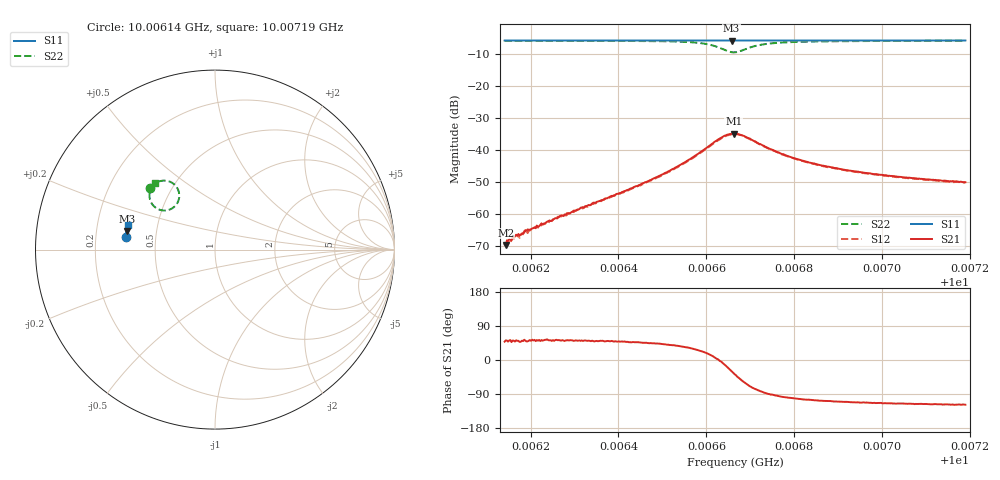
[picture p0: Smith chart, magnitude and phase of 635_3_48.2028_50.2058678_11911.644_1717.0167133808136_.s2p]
#  HZ  S  RI  R  50.00
! Rohde & Schwarz Vector Network Analyzer
! Rohde-Schwarz,ZNB20-2Port,1311601062101988,3.16
! Created: UTC 3/20/2024, 12:04:35 PM
! freq[Hz]  re:S11  im:S11  re:S21  im:S21  re:S12  im:S12  re:S22  im:S22
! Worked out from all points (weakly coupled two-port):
!   401 points, 10.00614 GHz to 10.00719 GHz, reference 50 ohm
!   highest |S21| = -35.00 dB at 10.00666 GHz (marker M1); lowest = -69.8 dB at 10.00614 GHz (marker M2)
!   lowest |S11| = -6.0 dB at 10.00666 GHz (marker M3), VSWR 3.02, Z = 16.7 + j4.57 ohm
!   |S11| at or under -10 dB: nowhere
!   |S22| runs from -9.6 to -6.0 dB; largest |S21 - S12| = 0.0014
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1.0006141e10  -0.4985 0.0695  0.000221 0.000249  0.000195 0.000241  -0.3605 0.345
1.0006143e10  -0.4986 0.0694  0.0002 0.000253  0.000221 0.000255  -0.3603 0.3454
1.0006167e10  -0.4984 0.0711  0.000287 0.000369  0.000253 0.000324  -0.3587 0.3472
1.0006185e10  -0.4983 0.0722  0.000299 0.000403  0.000314 0.000431  -0.3574 0.3483
1.0006198e10  -0.4982 0.0732  0.00034 0.000447  0.000312 0.000449  -0.3565 0.3494
1.0006267e10  -0.4976 0.0778  0.000561 0.000714  0.000501 0.000771  -0.351 0.3546
1.0006316e10  -0.4972 0.0809  0.000777 0.000977  0.00072 0.000978  -0.3462 0.3589
1.0006427e10  -0.4961 0.088  0.00167 0.00179  0.00152 0.00184  -0.3313 0.3701
1.0006492e10  -0.4953 0.0924  0.00281 0.00265  0.00263 0.0027  -0.3155 0.3783
1.0006547e10  -0.4944 0.096  0.005 0.00348  0.00471 0.00369  -0.2906 0.3843
1.00066e10  -0.4936 0.0996  0.00997 0.00336  0.00952 0.0038  -0.242 0.374
1.0006636e10  -0.4924 0.1015  0.0156 -0.00192  0.0152 -0.00103  -0.2001 0.3141
1.0006657e10  -0.492 0.1022  0.0153 -0.0088  0.0154 -0.00765  -0.2144 0.2526
1.0006663e10  -0.492 0.1024  0.0144 -0.0104  0.0147 -0.00913  -0.2258 0.2397
1.0006665e10  -0.492 0.1025  0.0139 -0.011  0.0144 -0.00984  -0.2324 0.2342
1.0006684e10  -0.4923 0.1033  0.00904 -0.0137  0.00972 -0.0131  -0.284 0.2177
1.0006726e10  -0.4926 0.1058  0.00141 -0.0118  0.00197 -0.0114  -0.3516 0.2555
1.0006778e10  -0.4923 0.1095  -0.00114 -0.0082  -0.000703 -0.0081  -0.3652 0.2979
1.0006841e10  -0.4917 0.1137  -0.00165 -0.00587  -0.00132 -0.0059  -0.3622 0.3238
1.0006914e10  -0.4907 0.1184  -0.0017 -0.00454  -0.00146 -0.00454  -0.3562 0.3402
1.0007017e10  -0.4894 0.1249  -0.0016 -0.00355  -0.00142 -0.00356  -0.3483 0.3537
1.000719e10  -0.4868 0.136  -0.00145 -0.00273  -0.00133 -0.00274  -0.3367 0.3687
